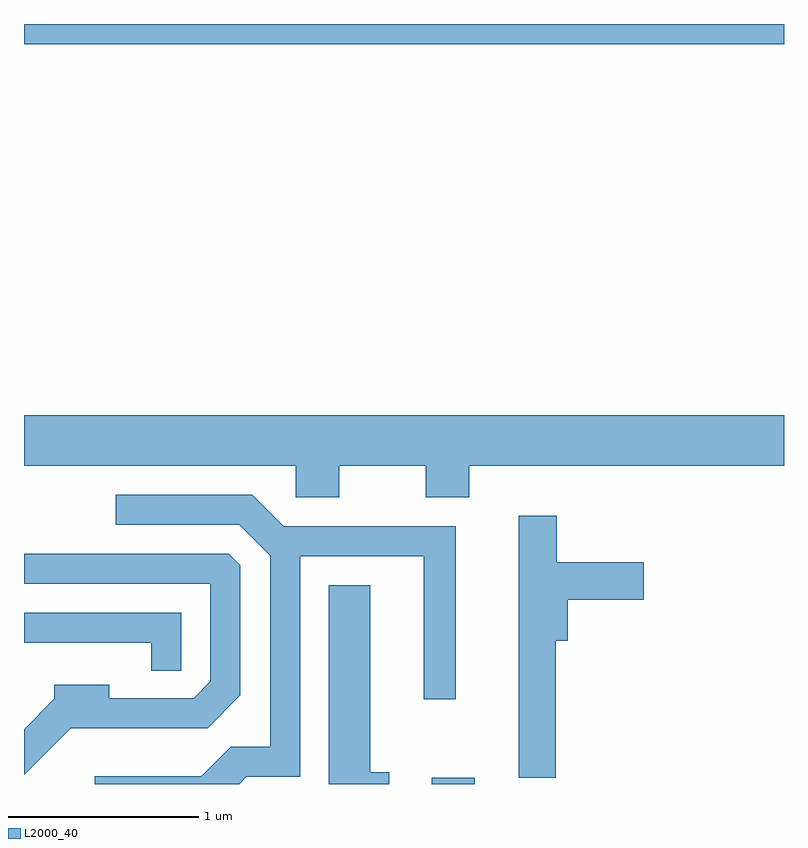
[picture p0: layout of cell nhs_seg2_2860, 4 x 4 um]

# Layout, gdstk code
import gdstk
lib = gdstk.Library(unit=1e-6, precision=1e-09)
def R(c, l, rs):  # rectangles x0, y0, x1, y1
    for r in rs: c.add(gdstk.rectangle(r[:2], r[2:], *l))
def P(c, l, *ps):  # polygons
    for p in ps: c.add(gdstk.Polygon(p, *l))
L2000_40 = (2000, 40)

nhs_seg2_2860 = lib.new_cell('nhs_seg2_2860')
R(nhs_seg2_2860, L2000_40, [(271.756,997.802,271.984,997.834), (269.611,1001.696,273.611,1001.802)])
P(nhs_seg2_2860, L2000_40, [(271.269,999.476),(271.726,999.476),(271.726,999.311),(271.954,999.311),(271.954,999.476),(273.611,999.476),(273.611,999.744),(269.611,999.744),(269.611,999.476),(271.041,999.476),(271.041,999.311),(271.269,999.311)],
  [(270.782,997.841),(271.064,997.841),(271.064,999.001),(271.716,999.001),(271.716,998.248),(271.884,998.248),(271.884,999.159),(270.977,999.159),(270.812,999.324),(270.093,999.324),(270.093,999.166),(270.744,999.166),(270.906,999.004),(270.906,997.999),(270.699,997.999),(270.544,997.844),(269.983,997.844),(269.983,997.802),(270.743,997.802)],
  [(272.409,998.556),(272.474,998.556),(272.474,998.771),(272.874,998.771),(272.874,998.969),(272.414,998.969),(272.414,999.214),(272.216,999.214),(272.216,997.836),(272.409,997.836)],
  [(269.857,998.096),(270.577,998.096),(270.749,998.269),(270.749,998.954),(270.689,999.014),(269.611,999.014),(269.611,998.856),(270.591,998.856),(270.591,998.342),(270.504,998.254),(270.059,998.254),(270.059,998.324),(269.771,998.324),(269.771,998.252),(269.611,998.091),(269.611,997.85)],
  [(271.533,997.864),(271.434,997.864),(271.434,998.849),(271.216,998.849),(271.216,997.802),(271.533,997.802)],
  [(270.439,998.704),(269.611,998.704),(269.611,998.546),(270.281,998.546),(270.281,998.398),(270.439,998.398)])

lib.write_gds('nhs_seg2_2860.gds')
